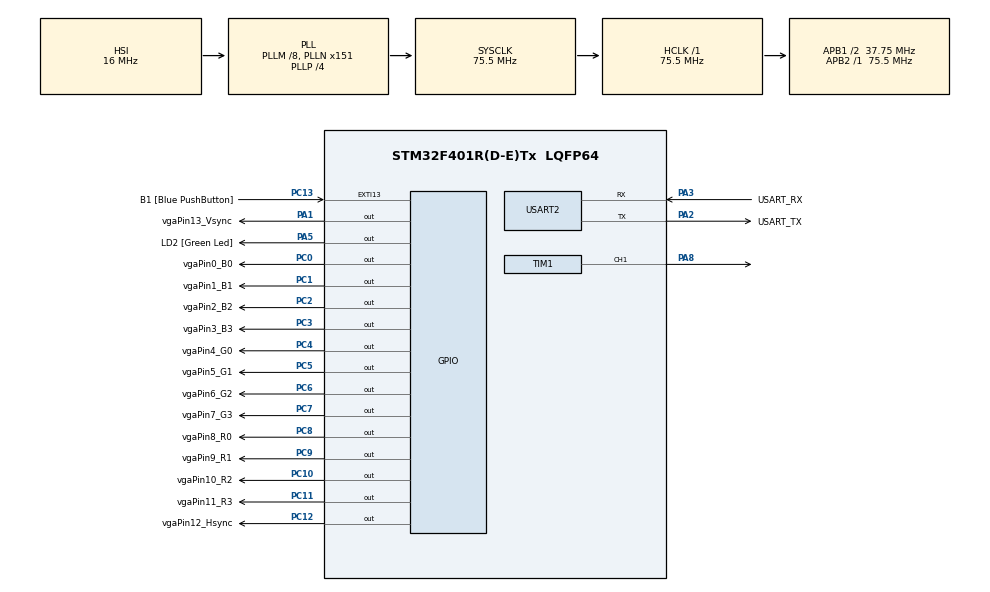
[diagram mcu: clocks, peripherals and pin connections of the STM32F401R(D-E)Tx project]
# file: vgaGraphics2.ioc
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Dma.MEMTOMEM.0.Direction=DMA_MEMORY_TO_MEMORY
Dma.MEMTOMEM.0.FIFOMode=DMA_FIFOMODE_ENABLE
Dma.MEMTOMEM.0.FIFOThreshold=DMA_FIFO_THRESHOLD_HALFFULL
Dma.MEMTOMEM.0.Instance=DMA2_Stream0
Dma.MEMTOMEM.0.MemBurst=DMA_MBURST_SINGLE
Dma.MEMTOMEM.0.MemDataAlignment=DMA_MDATAALIGN_WORD
Dma.MEMTOMEM.0.MemInc=DMA_MINC_ENABLE
Dma.MEMTOMEM.0.Mode=DMA_NORMAL
Dma.MEMTOMEM.0.PeriphBurst=DMA_PBURST_SINGLE
Dma.MEMTOMEM.0.PeriphDataAlignment=DMA_PDATAALIGN_WORD
Dma.MEMTOMEM.0.PeriphInc=DMA_PINC_ENABLE
Dma.MEMTOMEM.0.Priority=DMA_PRIORITY_MEDIUM
Dma.Request0=MEMTOMEM
Dma.Request1=TIM1_UP
Dma.TIM1_UP.1.Direction=DMA_MEMORY_TO_PERIPH
Dma.TIM1_UP.1.FIFOMode=DMA_FIFOMODE_ENABLE
Dma.TIM1_UP.1.FIFOThreshold=DMA_FIFO_THRESHOLD_HALFFULL
Dma.TIM1_UP.1.Instance=DMA2_Stream5
Dma.TIM1_UP.1.MemBurst=DMA_MBURST_INC4
Dma.TIM1_UP.1.MemDataAlignment=DMA_MDATAALIGN_BYTE
Dma.TIM1_UP.1.MemInc=DMA_MINC_ENABLE
Dma.TIM1_UP.1.Mode=DMA_CIRCULAR
Dma.TIM1_UP.1.PeriphBurst=DMA_PBURST_SINGLE
Dma.TIM1_UP.1.PeriphDataAlignment=DMA_PDATAALIGN_BYTE
Dma.TIM1_UP.1.PeriphInc=DMA_PINC_DISABLE
Dma.TIM1_UP.1.Priority=DMA_PRIORITY_VERY_HIGH
Mcu.Family=STM32F4
Mcu.Name=STM32F401R(D-E)Tx
Mcu.Package=LQFP64
Mcu.UserConstants=vgaUpscale,2
NVIC.DMA2_Stream5_IRQn=true\:0\:0\:false\:false\:true\:false\:true\:true
NVIC.PriorityGroup=NVIC_PRIORITYGROUP_0
NVIC.TIM5_IRQn=true\:0\:1\:true\:false\:true\:true\:true\:true
PA1.GPIO_Label=vgaPin13_Vsync
PA1.GPIO_Speed=GPIO_SPEED_FREQ_HIGH
PA1.Signal=GPIO_Output
PA13.GPIO_Label=TMS
PA13.Mode=Serial_Wire
PA13.Signal=SYS_JTMS-SWDIO
PA14.GPIO_Label=TCK
PA14.Mode=Serial_Wire
PA14.Signal=SYS_JTCK-SWCLK
PA2.GPIO_Label=USART_TX
PA2.GPIO_Mode=GPIO_MODE_AF_PP
PA2.GPIO_PuPd=GPIO_NOPULL
PA2.GPIO_Speed=GPIO_SPEED_FREQ_LOW
PA2.Mode=Asynchronous
PA2.Signal=USART2_TX
PA3.GPIO_Label=USART_RX
PA3.GPIO_Mode=GPIO_MODE_AF_PP
PA3.GPIO_PuPd=GPIO_NOPULL
PA3.GPIO_Speed=GPIO_SPEED_FREQ_LOW
PA3.Mode=Asynchronous
PA3.Signal=USART2_RX
PA5.GPIO_Label=LD2 [Green Led]
PA5.GPIO_Mode=GPIO_MODE_OUTPUT_PP
PA5.GPIO_PuPd=GPIO_NOPULL
PA5.GPIO_Speed=GPIO_SPEED_FREQ_LOW
PA5.Signal=GPIO_Output
PA8.GPIO_Speed=GPIO_SPEED_FREQ_VERY_HIGH
PA8.Signal=S_TIM1_CH1
PB3.GPIO_Label=SWO
PB3.Signal=SYS_JTDO-SWO
PC0.GPIO_Label=vgaPin0_B0
PC0.GPIO_ModeDefaultOutputPP=GPIO_MODE_OUTPUT_PP
PC0.GPIO_PuPd=GPIO_NOPULL
PC0.GPIO_Speed=GPIO_SPEED_FREQ_VERY_HIGH
PC0.PinState=GPIO_PIN_RESET
PC0.Signal=GPIO_Output
PC1.GPIO_Label=vgaPin1_B1
PC1.GPIO_ModeDefaultOutputPP=GPIO_MODE_OUTPUT_PP
PC1.GPIO_PuPd=GPIO_NOPULL
PC1.GPIO_Speed=GPIO_SPEED_FREQ_VERY_HIGH
PC1.PinState=GPIO_PIN_RESET
PC1.Signal=GPIO_Output
PC10.GPIO_Label=vgaPin10_R2
PC10.GPIO_ModeDefaultOutputPP=GPIO_MODE_OUTPUT_PP
PC10.GPIO_PuPd=GPIO_NOPULL
PC10.GPIO_Speed=GPIO_SPEED_FREQ_VERY_HIGH
PC10.PinState=GPIO_PIN_RESET
PC10.Signal=GPIO_Output
PC11.GPIO_Label=vgaPin11_R3
PC11.GPIO_ModeDefaultOutputPP=GPIO_MODE_OUTPUT_PP
PC11.GPIO_PuPd=GPIO_NOPULL
PC11.GPIO_Speed=GPIO_SPEED_FREQ_VERY_HIGH
PC11.PinState=GPIO_PIN_RESET
PC11.Signal=GPIO_Output
PC12.GPIO_Label=vgaPin12_Hsync
PC12.GPIO_ModeDefaultOutputPP=GPIO_MODE_OUTPUT_PP
PC12.GPIO_PuPd=GPIO_NOPULL
PC12.GPIO_Speed=GPIO_SPEED_FREQ_VERY_HIGH
PC12.PinState=GPIO_PIN_RESET
PC12.Signal=GPIO_Output
PC13-ANTI_TAMP.GPIO_Label=B1 [Blue PushButton]
PC13-ANTI_TAMP.GPIO_ModeDefaultEXTI=GPIO_MODE_IT_FALLING
PC13-ANTI_TAMP.GPIO_PuPd=GPIO_NOPULL
PC13-ANTI_TAMP.Signal=GPXTI13
PC14-OSC32_IN.Mode=LSE-External-Oscillator
PC14-OSC32_IN.Signal=RCC_OSC32_IN
PC15-OSC32_OUT.Mode=LSE-External-Oscillator
PC15-OSC32_OUT.Signal=RCC_OSC32_OUT
PC2.GPIO_Label=vgaPin2_B2
PC2.GPIO_ModeDefaultOutputPP=GPIO_MODE_OUTPUT_PP
PC2.GPIO_PuPd=GPIO_NOPULL
PC2.GPIO_Speed=GPIO_SPEED_FREQ_VERY_HIGH
PC2.PinState=GPIO_PIN_RESET
PC2.Signal=GPIO_Output
PC3.GPIO_Label=vgaPin3_B3
PC3.GPIO_ModeDefaultOutputPP=GPIO_MODE_OUTPUT_PP
PC3.GPIO_PuPd=GPIO_NOPULL
PC3.GPIO_Speed=GPIO_SPEED_FREQ_VERY_HIGH
PC3.PinState=GPIO_PIN_RESET
PC3.Signal=GPIO_Output
PC4.GPIO_Label=vgaPin4_G0
PC4.GPIO_ModeDefaultOutputPP=GPIO_MODE_OUTPUT_PP
PC4.GPIO_PuPd=GPIO_NOPULL
PC4.GPIO_Speed=GPIO_SPEED_FREQ_VERY_HIGH
PC4.PinState=GPIO_PIN_RESET
PC4.Signal=GPIO_Output
PC5.GPIO_Label=vgaPin5_G1
PC5.GPIO_ModeDefaultOutputPP=GPIO_MODE_OUTPUT_PP
PC5.GPIO_PuPd=GPIO_NOPULL
PC5.GPIO_Speed=GPIO_SPEED_FREQ_VERY_HIGH
PC5.PinState=GPIO_PIN_RESET
PC5.Signal=GPIO_Output
PC6.GPIO_Label=vgaPin6_G2
PC6.GPIO_ModeDefaultOutputPP=GPIO_MODE_OUTPUT_PP
PC6.GPIO_PuPd=GPIO_NOPULL
PC6.GPIO_Speed=GPIO_SPEED_FREQ_VERY_HIGH
PC6.PinState=GPIO_PIN_RESET
PC6.Signal=GPIO_Output
PC7.GPIO_Label=vgaPin7_G3
PC7.GPIO_ModeDefaultOutputPP=GPIO_MODE_OUTPUT_PP
PC7.GPIO_PuPd=GPIO_NOPULL
PC7.GPIO_Speed=GPIO_SPEED_FREQ_VERY_HIGH
PC7.PinState=GPIO_PIN_RESET
PC7.Signal=GPIO_Output
PC8.GPIO_Label=vgaPin8_R0
PC8.GPIO_ModeDefaultOutputPP=GPIO_MODE_OUTPUT_PP
PC8.GPIO_PuPd=GPIO_NOPULL
PC8.GPIO_Speed=GPIO_SPEED_FREQ_VERY_HIGH
PC8.PinState=GPIO_PIN_RESET
PC8.Signal=GPIO_Output
PC9.GPIO_Label=vgaPin9_R1
PC9.GPIO_ModeDefaultOutputPP=GPIO_MODE_OUTPUT_PP
PC9.GPIO_PuPd=GPIO_NOPULL
PC9.GPIO_Speed=GPIO_SPEED_FREQ_VERY_HIGH
PC9.PinState=GPIO_PIN_RESET
PC9.Signal=GPIO_Output
PH0\ -\ OSC_IN.Mode=HSE-External-Clock-Source
PH0\ -\ OSC_IN.Signal=RCC_OSC_IN
PH1\ -\ OSC_OUT.Mode=HSE-External-Clock-Source
PH1\ -\ OSC_OUT.Signal=RCC_OSC_OUT
ProjectManager.HeapSize=0x200
ProjectManager.StackSize=0x400
ProjectManager.TargetToolchain=STM32CubeIDE
RCC.48MHZClocksFreq_Value=43142857.14285714
RCC.AHBFreq_Value=75500000
RCC.APB1CLKDivider=RCC_HCLK_DIV2
RCC.APB1Freq_Value=37750000
RCC.APB1TimFreq_Value=75500000
RCC.APB2Freq_Value=75500000
RCC.APB2TimFreq_Value=75500000
RCC.CortexFreq_Value=75500000
RCC.HCLKFreq_Value=75500000
RCC.HSE_VALUE=8000000
RCC.HSI_VALUE=16000000
RCC.PLLM=8
RCC.PLLN=151
RCC.PLLP=RCC_PLLP_DIV4
RCC.PLLQ=7
RCC.SYSCLKFreq_VALUE=75500000
RCC.SYSCLKSource=RCC_SYSCLKSOURCE_PLLCLK
RCC.VCOOutputFreq_Value=302000000
SH.S_TIM1_CH1.0=TIM1_CH1,PWM Generation1 CH1
TIM1.AutoReloadPreload=TIM_AUTORELOAD_PRELOAD_ENABLE
TIM1.Channel-PWM\ Generation1\ CH1=TIM_CHANNEL_1
TIM1.Period=3-1
TIM1.Prescaler=vgaUpscale-1
TIM1.Pulse-PWM\ Generation1\ CH1=2
TIM5.AutoReloadPreload=TIM_AUTORELOAD_PRELOAD_ENABLE
TIM5.Period=10000-1
TIM5.Prescaler=7550-1
USART2.VirtualMode=VM_ASYNC
VP_TIM1_VS_ClockSourceINT.Mode=Internal
VP_TIM5_VS_ClockSourceINT.Mode=Internal
board=NUCLEO-F401RE

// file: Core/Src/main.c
/* USER CODE BEGIN Header */
/**
 ******************************************************************************
 * @file           : main.c
 * @brief          : Main program body
 ******************************************************************************
 * @attention
 *
 * Copyright (c) 2022 STMicroelectronics.
 * All rights reserved.
 *
 * This software is licensed under terms that can be found in the LICENSE file
 * in the root directory of this software component.
 * If no LICENSE file comes with this software, it is provided AS-IS.
 *
 ******************************************************************************
 */
/* USER CODE END Header */
#include "main.h"

/* USER CODE BEGIN Includes */

#include "vga.h"
#include "graphicsLib.h"
#include "codepage-437-bmp.h"
#include "TTY.h"
#include <stdio.h>
/* USER CODE END Includes */

TIM_HandleTypeDef htim1;
TIM_HandleTypeDef htim5;
DMA_HandleTypeDef hdma_tim1_up;

UART_HandleTypeDef huart2;

DMA_HandleTypeDef hdma_memtomem_dma2_stream0;

void SystemClock_Config(void);
static void MX_GPIO_Init(void);
static void MX_DMA_Init(void);
static void MX_USART2_UART_Init(void);
static void MX_TIM5_Init(void);
static void MX_TIM1_Init(void);

/* USER CODE BEGIN 0 */

char str[81] = { '\0' };
uint16_t str_len = 0;

void timerReset(){
char str[] = "Timer reset\n\r";
	HAL_UART_Transmit(&huart2, (uint8_t*) str, sizeof(str), HAL_MAX_DELAY);
}

int lastLine = -100;
uint32_t profileCount = 0;
void HAL_TIM_PeriodElapsedCallback(TIM_HandleTypeDef *htim){
	if(htim == &htim5){
		str_len = sprintf(str, "Profile %8lu ticks clock\t line %i\r\n", profileCount, lineCount);
		HAL_UART_Transmit(&huart2, (uint8_t*) str, str_len, HAL_MAX_DELAY);
		profileCount = 0;
	}
	return;
	if(htim == &htim5){
		timerReset();
	}else if(htim == &htim1){
		timerReset();
	}
}

/* USER CODE END 0 */

int main(void)
{

  /* MCU Configuration--------------------------------------------------------*/

  /* Reset of all peripherals, Initializes the Flash interface and the Systick. */
  HAL_Init();

  /* Configure the system clock */
  SystemClock_Config();

  /* Initialize all configured peripherals */
  MX_GPIO_Init();
  MX_DMA_Init();
  MX_USART2_UART_Init();
  MX_TIM5_Init();
  MX_TIM1_Init();
  /* USER CODE BEGIN 2 */

	char str[81] = { '\0' };
	uint16_t str_len = 0;
	str_len = sprintf(str, "Starting up!\r\n");
	HAL_UART_Transmit(&huart2, (uint8_t*) str, str_len, HAL_MAX_DELAY);

	vgaSetup(&htim1, &hdma_tim1_up, &hdma_memtomem_dma2_stream0, vgaPin13_Vsync_GPIO_Port, vgaPin13_Vsync_Pin);
	registerHUARTvga(&huart2);

	vgaStart();//start VGA driver
	HAL_Delay(5000);//delay rendering for monitor sync

	for(int i = 0; i < vertRes; i++){//load a rainbow test pattern
		for(int j = 0; j < horiRes; j++){
			screenBuff[i*horiRes + j].value = 0b00111111;
			//screenBuff[i*vertRes + j].value = j & 0b111111;
		}
		for(int j = 0; j<64;j++){
			screenBuff[i*horiRes + 8 + j].value = 0b00000000 + j%64;// + ((j%4)<<2) + ((j%4)<<4);
		}
	}

	//Write test text
	Color black;
	setRGB(&black, 00, 00, 00);
	Color transparant;
	transparant.value = 0b11000000;
	//vgaUpscale;
	int h = 10, w = 30, x = 64+8+8, y = 10;
	for(int i = y; i < vertRes && i < y+h; i++){//render a black rectangle
		for(int j = x; j < horiRes && j < x+w; j++){
			screenBuff[i*horiRes + j] = black;
		}
	}
	y+=codepage_437.sprite_vert;
	//renderString(str, h, v, background, forground)
	renderString("Hi", x, y, transparant, black, &codepage_437);

	y+=codepage_437.sprite_vert;
	renderString("Hello world!", x, y, transparant, black, &codepage_437);
	y+=codepage_437.sprite_vert;
	renderString("Press <any> key for TTY", x, y, transparant, black, &codepage_437);
	y+=codepage_437.sprite_vert;
	renderChar(177, x, y, transparant, black, &codepage_437);

	y+=codepage_437.sprite_vert;//test patterns
	renderChar(201, x, y, transparant, black, &codepage_437);
	renderChar(187, x + codepage_437.sprite_hori, y, transparant, black, &codepage_437);
	renderChar(186, x + 2*codepage_437.sprite_hori, y, transparant, black, &codepage_437);
	y+=codepage_437.sprite_vert;
	renderChar(200, x, y, transparant, black, &codepage_437);
	renderChar(188, x + codepage_437.sprite_hori, y, transparant, black, &codepage_437);

	str_len = sprintf(str, "\r\nDone\r\n");
	HAL_UART_Transmit(&huart2, (uint8_t*) str, str_len, HAL_MAX_DELAY);
  /* USER CODE END 2 */

  /* Infinite loop */
  /* USER CODE BEGIN WHILE */
	runTTY(&huart2);
	while (1)
	{
		profileCount++;

		//HAL_Delay(1);
    /* USER CODE END WHILE */

	}
}

void SystemClock_Config(void)
{
  RCC_OscInitTypeDef RCC_OscInitStruct = {0};
  RCC_ClkInitTypeDef RCC_ClkInitStruct = {0};

  /** Configure the main internal regulator output voltage
  */
  __HAL_RCC_PWR_CLK_ENABLE();
  __HAL_PWR_VOLTAGESCALING_CONFIG(PWR_REGULATOR_VOLTAGE_SCALE2);

  /** Initializes the RCC Oscillators according to the specified parameters
  * in the RCC_OscInitTypeDef structure.
  */
  RCC_OscInitStruct.OscillatorType = RCC_OSCILLATORTYPE_HSI;
  RCC_OscInitStruct.HSIState = RCC_HSI_ON;
  RCC_OscInitStruct.HSICalibrationValue = RCC_HSICALIBRATION_DEFAULT;
  RCC_OscInitStruct.PLL.PLLState = RCC_PLL_ON;
  RCC_OscInitStruct.PLL.PLLSource = RCC_PLLSOURCE_HSI;
  RCC_OscInitStruct.PLL.PLLM = 8;
  RCC_OscInitStruct.PLL.PLLN = 151;
  RCC_OscInitStruct.PLL.PLLP = RCC_PLLP_DIV4;
  RCC_OscInitStruct.PLL.PLLQ = 7;
  if (HAL_RCC_OscConfig(&RCC_OscInitStruct) != HAL_OK)
  {
    Error_Handler();
  }

  /** Initializes the CPU, AHB and APB buses clocks
  */
  RCC_ClkInitStruct.ClockType = RCC_CLOCKTYPE_HCLK|RCC_CLOCKTYPE_SYSCLK
                              |RCC_CLOCKTYPE_PCLK1|RCC_CLOCKTYPE_PCLK2;
  RCC_ClkInitStruct.SYSCLKSource = RCC_SYSCLKSOURCE_PLLCLK;
  RCC_ClkInitStruct.AHBCLKDivider = RCC_SYSCLK_DIV1;
  RCC_ClkInitStruct.APB1CLKDivider = RCC_HCLK_DIV2;
  RCC_ClkInitStruct.APB2CLKDivider = RCC_HCLK_DIV1;

  if (HAL_RCC_ClockConfig(&RCC_ClkInitStruct, FLASH_LATENCY_2) != HAL_OK)
  {
    Error_Handler();
  }
}

static void MX_TIM1_Init(void)
{

  TIM_ClockConfigTypeDef sClockSourceConfig = {0};
  TIM_MasterConfigTypeDef sMasterConfig = {0};
  TIM_OC_InitTypeDef sConfigOC = {0};
  TIM_BreakDeadTimeConfigTypeDef sBreakDeadTimeConfig = {0};

  htim1.Instance = TIM1;
  htim1.Init.Prescaler = vgaUpscale-1;
  htim1.Init.CounterMode = TIM_COUNTERMODE_UP;
  htim1.Init.Period = 3-1;
  htim1.Init.ClockDivision = TIM_CLOCKDIVISION_DIV1;
  htim1.Init.RepetitionCounter = 0;
  htim1.Init.AutoReloadPreload = TIM_AUTORELOAD_PRELOAD_ENABLE;
  if (HAL_TIM_Base_Init(&htim1) != HAL_OK)
  {
    Error_Handler();
  }
  sClockSourceConfig.ClockSource = TIM_CLOCKSOURCE_INTERNAL;
  if (HAL_TIM_ConfigClockSource(&htim1, &sClockSourceConfig) != HAL_OK)
  {
    Error_Handler();
  }
  if (HAL_TIM_PWM_Init(&htim1) != HAL_OK)
  {
    Error_Handler();
  }
  sMasterConfig.MasterOutputTrigger = TIM_TRGO_RESET;
  sMasterConfig.MasterSlaveMode = TIM_MASTERSLAVEMODE_DISABLE;
  if (HAL_TIMEx_MasterConfigSynchronization(&htim1, &sMasterConfig) != HAL_OK)
  {
    Error_Handler();
  }
  sConfigOC.OCMode = TIM_OCMODE_PWM1;
  sConfigOC.Pulse = 2;
  sConfigOC.OCPolarity = TIM_OCPOLARITY_HIGH;
  sConfigOC.OCNPolarity = TIM_OCNPOLARITY_HIGH;
  sConfigOC.OCFastMode = TIM_OCFAST_DISABLE;
  sConfigOC.OCIdleState = TIM_OCIDLESTATE_RESET;
  sConfigOC.OCNIdleState = TIM_OCNIDLESTATE_RESET;
  if (HAL_TIM_PWM_ConfigChannel(&htim1, &sConfigOC, TIM_CHANNEL_1) != HAL_OK)
  {
    Error_Handler();
  }
  sBreakDeadTimeConfig.OffStateRunMode = TIM_OSSR_DISABLE;
  sBreakDeadTimeConfig.OffStateIDLEMode = TIM_OSSI_DISABLE;
  sBreakDeadTimeConfig.LockLevel = TIM_LOCKLEVEL_OFF;
  sBreakDeadTimeConfig.DeadTime = 0;
  sBreakDeadTimeConfig.BreakState = TIM_BREAK_DISABLE;
  sBreakDeadTimeConfig.BreakPolarity = TIM_BREAKPOLARITY_HIGH;
  sBreakDeadTimeConfig.AutomaticOutput = TIM_AUTOMATICOUTPUT_DISABLE;
  if (HAL_TIMEx_ConfigBreakDeadTime(&htim1, &sBreakDeadTimeConfig) != HAL_OK)
  {
    Error_Handler();
  }
  HAL_TIM_MspPostInit(&htim1);

}

static void MX_TIM5_Init(void)
{

  TIM_ClockConfigTypeDef sClockSourceConfig = {0};
  TIM_MasterConfigTypeDef sMasterConfig = {0};

  htim5.Instance = TIM5;
  htim5.Init.Prescaler = 7550-1;
  htim5.Init.CounterMode = TIM_COUNTERMODE_UP;
  htim5.Init.Period = 10000-1;
  htim5.Init.ClockDivision = TIM_CLOCKDIVISION_DIV1;
  htim5.Init.AutoReloadPreload = TIM_AUTORELOAD_PRELOAD_ENABLE;
  if (HAL_TIM_Base_Init(&htim5) != HAL_OK)
  {
    Error_Handler();
  }
  sClockSourceConfig.ClockSource = TIM_CLOCKSOURCE_INTERNAL;
  if (HAL_TIM_ConfigClockSource(&htim5, &sClockSourceConfig) != HAL_OK)
  {
    Error_Handler();
  }
  sMasterConfig.MasterOutputTrigger = TIM_TRGO_RESET;
  sMasterConfig.MasterSlaveMode = TIM_MASTERSLAVEMODE_DISABLE;
  if (HAL_TIMEx_MasterConfigSynchronization(&htim5, &sMasterConfig) != HAL_OK)
  {
    Error_Handler();
  }

}

static void MX_USART2_UART_Init(void)
{

  huart2.Instance = USART2;
  huart2.Init.BaudRate = 115200;
  huart2.Init.WordLength = UART_WORDLENGTH_8B;
  huart2.Init.StopBits = UART_STOPBITS_1;
  huart2.Init.Parity = UART_PARITY_NONE;
  huart2.Init.Mode = UART_MODE_TX_RX;
  huart2.Init.HwFlowCtl = UART_HWCONTROL_NONE;
  huart2.Init.OverSampling = UART_OVERSAMPLING_16;
  if (HAL_UART_Init(&huart2) != HAL_OK)
  {
    Error_Handler();
  }

}

static void MX_DMA_Init(void)
{

  /* DMA controller clock enable */
  __HAL_RCC_DMA2_CLK_ENABLE();

  /* Configure DMA request hdma_memtomem_dma2_stream0 on DMA2_Stream0 */
  hdma_memtomem_dma2_stream0.Instance = DMA2_Stream0;
  hdma_memtomem_dma2_stream0.Init.Channel = DMA_CHANNEL_0;
  hdma_memtomem_dma2_stream0.Init.Direction = DMA_MEMORY_TO_MEMORY;
  hdma_memtomem_dma2_stream0.Init.PeriphInc = DMA_PINC_ENABLE;
  hdma_memtomem_dma2_stream0.Init.MemInc = DMA_MINC_ENABLE;
  hdma_memtomem_dma2_stream0.Init.PeriphDataAlignment = DMA_PDATAALIGN_WORD;
  hdma_memtomem_dma2_stream0.Init.MemDataAlignment = DMA_MDATAALIGN_WORD;
  hdma_memtomem_dma2_stream0.Init.Mode = DMA_NORMAL;
  hdma_memtomem_dma2_stream0.Init.Priority = DMA_PRIORITY_MEDIUM;
  hdma_memtomem_dma2_stream0.Init.FIFOMode = DMA_FIFOMODE_ENABLE;
  hdma_memtomem_dma2_stream0.Init.FIFOThreshold = DMA_FIFO_THRESHOLD_HALFFULL;
  hdma_memtomem_dma2_stream0.Init.MemBurst = DMA_MBURST_SINGLE;
  hdma_memtomem_dma2_stream0.Init.PeriphBurst = DMA_PBURST_SINGLE;
  if (HAL_DMA_Init(&hdma_memtomem_dma2_stream0) != HAL_OK)
  {
    Error_Handler( );
  }

  /* DMA interrupt init */
  /* DMA2_Stream5_IRQn interrupt configuration */
  HAL_NVIC_SetPriority(DMA2_Stream5_IRQn, 0, 0);
  HAL_NVIC_EnableIRQ(DMA2_Stream5_IRQn);

}

static void MX_GPIO_Init(void)
{
  GPIO_InitTypeDef GPIO_InitStruct = {0};

  /* GPIO Ports Clock Enable */
  __HAL_RCC_GPIOC_CLK_ENABLE();
  __HAL_RCC_GPIOH_CLK_ENABLE();
  __HAL_RCC_GPIOA_CLK_ENABLE();
  __HAL_RCC_GPIOB_CLK_ENABLE();

  /*Configure GPIO pin Output Level */
  HAL_GPIO_WritePin(GPIOC, vgaPin0_B0_Pin|vgaPin1_B1_Pin|vgaPin2_B2_Pin|vgaPin3_B3_Pin
                          |vgaPin4_G0_Pin|vgaPin5_G1_Pin|vgaPin6_G2_Pin|vgaPin7_G3_Pin
                          |vgaPin8_R0_Pin|vgaPin9_R1_Pin|vgaPin10_R2_Pin|vgaPin11_R3_Pin
                          |vgaPin12_Hsync_Pin, GPIO_PIN_RESET);

  /*Configure GPIO pin Output Level */
  HAL_GPIO_WritePin(GPIOA, vgaPin13_Vsync_Pin|LD2_Pin, GPIO_PIN_RESET);

  /*Configure GPIO pin : B1_Pin */
  GPIO_InitStruct.Pin = B1_Pin;
  GPIO_InitStruct.Mode = GPIO_MODE_IT_FALLING;
  GPIO_InitStruct.Pull = GPIO_NOPULL;
  HAL_GPIO_Init(B1_GPIO_Port, &GPIO_InitStruct);

  /*Configure GPIO pins : vgaPin0_B0_Pin vgaPin1_B1_Pin vgaPin2_B2_Pin vgaPin3_B3_Pin
                           vgaPin4_G0_Pin vgaPin5_G1_Pin vgaPin6_G2_Pin vgaPin7_G3_Pin
                           vgaPin8_R0_Pin vgaPin9_R1_Pin vgaPin10_R2_Pin vgaPin11_R3_Pin
                           vgaPin12_Hsync_Pin */
  GPIO_InitStruct.Pin = vgaPin0_B0_Pin|vgaPin1_B1_Pin|vgaPin2_B2_Pin|vgaPin3_B3_Pin
                          |vgaPin4_G0_Pin|vgaPin5_G1_Pin|vgaPin6_G2_Pin|vgaPin7_G3_Pin
                          |vgaPin8_R0_Pin|vgaPin9_R1_Pin|vgaPin10_R2_Pin|vgaPin11_R3_Pin
                          |vgaPin12_Hsync_Pin;
  GPIO_InitStruct.Mode = GPIO_MODE_OUTPUT_PP;
  GPIO_InitStruct.Pull = GPIO_NOPULL;
  GPIO_InitStruct.Speed = GPIO_SPEED_FREQ_VERY_HIGH;
  HAL_GPIO_Init(GPIOC, &GPIO_InitStruct);

  /*Configure GPIO pin : vgaPin13_Vsync_Pin */
  GPIO_InitStruct.Pin = vgaPin13_Vsync_Pin;
  GPIO_InitStruct.Mode = GPIO_MODE_OUTPUT_PP;
  GPIO_InitStruct.Pull = GPIO_NOPULL;
  GPIO_InitStruct.Speed = GPIO_SPEED_FREQ_HIGH;
  HAL_GPIO_Init(vgaPin13_Vsync_GPIO_Port, &GPIO_InitStruct);

  /*Configure GPIO pin : LD2_Pin */
  GPIO_InitStruct.Pin = LD2_Pin;
  GPIO_InitStruct.Mode = GPIO_MODE_OUTPUT_PP;
  GPIO_InitStruct.Pull = GPIO_NOPULL;
  GPIO_InitStruct.Speed = GPIO_SPEED_FREQ_LOW;
  HAL_GPIO_Init(LD2_GPIO_Port, &GPIO_InitStruct);

}

void Error_Handler(void)
{
	__disable_irq();
	while (1)
	{
	}
}
